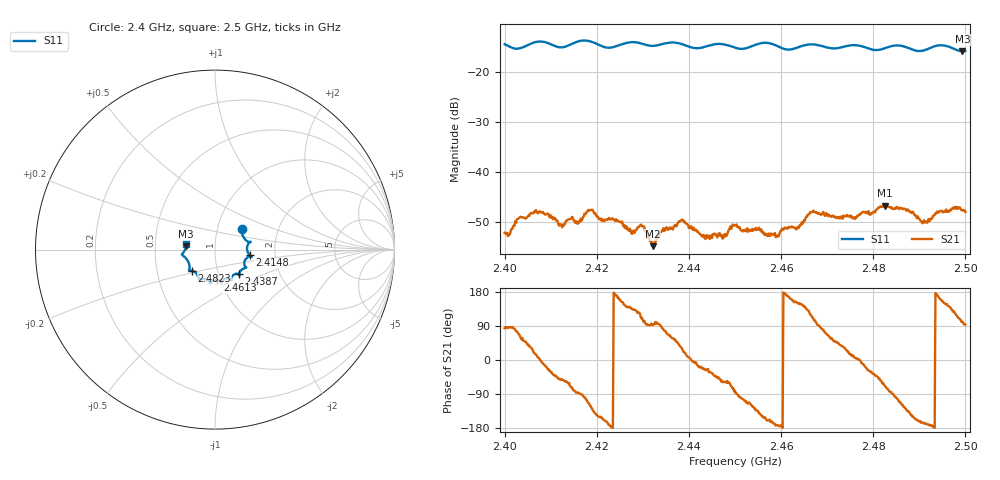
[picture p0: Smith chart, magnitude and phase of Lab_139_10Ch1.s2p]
# Hz S RI R
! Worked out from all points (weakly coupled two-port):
!   601 points, 2.4 GHz to 2.5 GHz, reference 50 ohm
!   highest |S21| = -46.64 dB at 2.4825 GHz (marker M1); lowest = -54.7 dB at 2.4322 GHz (marker M2)
!   lowest |S11| = -15.8 dB at 2.4993 GHz (marker M3), VSWR 1.39, Z = 36 + j1.29 ohm
!   |S11| at or under -10 dB: start of sweep to end of sweep
!   S12 and S22 are empty: the file has one direction only
!   S11 on the Smith chart (normalised r, x): 2.4 GHz: 1.31, +0.32; 2.4148 GHz: 1.47, -0.10; 2.4387 GHz: 1.25, -0.36; 2.4613 GHz: 0.97, -0.34; 2.4823 GHz: 0.75, -0.18; 2.5 GHz: 0.72, +0.04
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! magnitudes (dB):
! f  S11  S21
! 2.4 GHz  -14.3  -52.1
! 2.4063 GHz  -14.0  -48.1
! 2.4148 GHz  -14.2  -49.2
! 2.4167 GHz  -13.6  -49.7
! 2.4187 GHz  -13.8  -47.5
! 2.4278 GHz  -13.9  -51.7
! 2.4298 GHz  -14.2  -50.8
! 2.4322 GHz  -14.7  -54.7
! 2.4333 GHz  -14.5  -52.3
! 2.4387 GHz  -14.4  -49.5
! 2.444 GHz  -14.7  -53.0
! 2.45 GHz  -15.0  -50.6
! 2.459 GHz  -14.6  -52.9
! 2.4613 GHz  -15.4  -51.2
! 2.4667 GHz  -14.4  -47.9
! 2.4758 GHz  -14.5  -49.0
! 2.4823 GHz  -15.2  -46.6
! 2.4825 GHz  -15.2  -46.6
! 2.4833 GHz  -14.9  -46.8
! 2.4912 GHz  -15.5  -50.0
! 2.4993 GHz  -15.8  -47.6
! 2.5 GHz  -15.7  -47.9
